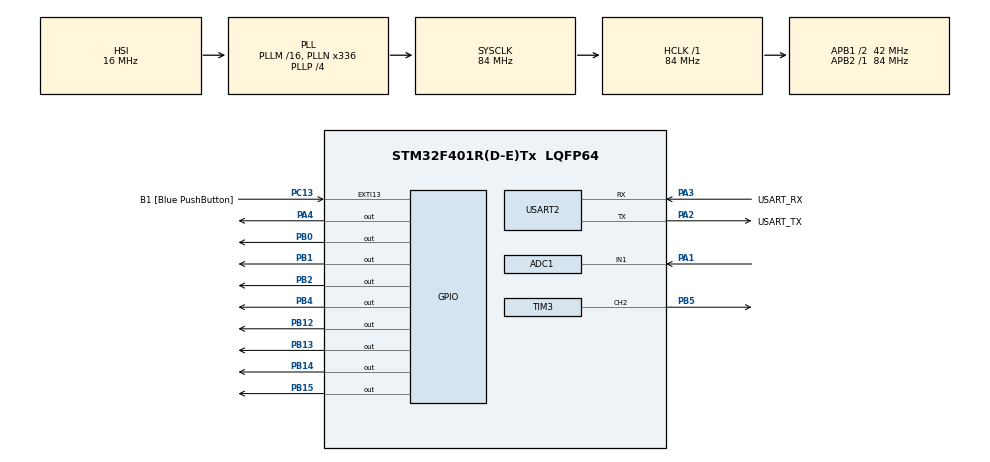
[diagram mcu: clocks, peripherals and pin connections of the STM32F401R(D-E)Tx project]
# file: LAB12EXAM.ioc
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ADC1.Channel-0\#ChannelRegularConversion=ADC_CHANNEL_1
ADC1.ExternalTrigConv=ADC_EXTERNALTRIGCONV_T2_TRGO
ADC1.InjNumberOfConversion=0
ADC1.NbrOfConversionFlag=1
ADC1.Rank-0\#ChannelRegularConversion=1
ADC1.SamplingTime-0\#ChannelRegularConversion=ADC_SAMPLETIME_480CYCLES
ADC1.master=1
Mcu.Family=STM32F4
Mcu.Name=STM32F401R(D-E)Tx
Mcu.Package=LQFP64
NVIC.ADC_IRQn=true\:1\:0\:true\:false\:true\:true\:true
NVIC.PriorityGroup=NVIC_PRIORITYGROUP_1
PA1.Signal=ADCx_IN1
PA13.GPIO_Label=TMS
PA13.Mode=Serial_Wire
PA13.Signal=SYS_JTMS-SWDIO
PA14.GPIO_Label=TCK
PA14.Mode=Serial_Wire
PA14.Signal=SYS_JTCK-SWCLK
PA2.GPIO_Label=USART_TX
PA2.GPIO_Mode=GPIO_MODE_AF_PP
PA2.GPIO_PuPd=GPIO_NOPULL
PA2.GPIO_Speed=GPIO_SPEED_FREQ_LOW
PA2.Mode=Asynchronous
PA2.Signal=USART2_TX
PA3.GPIO_Label=USART_RX
PA3.GPIO_Mode=GPIO_MODE_AF_PP
PA3.GPIO_PuPd=GPIO_NOPULL
PA3.GPIO_Speed=GPIO_SPEED_FREQ_LOW
PA3.Mode=Asynchronous
PA3.Signal=USART2_RX
PA4.Signal=GPIO_Output
PB0.Signal=GPIO_Output
PB1.Signal=GPIO_Output
PB12.Signal=GPIO_Output
PB13.Signal=GPIO_Output
PB14.Signal=GPIO_Output
PB15.Signal=GPIO_Output
PB2.Signal=GPIO_Output
PB3.GPIO_Label=SWO
PB3.Signal=SYS_JTDO-SWO
PB4.Signal=GPIO_Output
PB5.Signal=S_TIM3_CH2
PC13-ANTI_TAMP.GPIO_Label=B1 [Blue PushButton]
PC13-ANTI_TAMP.GPIO_ModeDefaultEXTI=GPIO_MODE_IT_FALLING
PC13-ANTI_TAMP.GPIO_PuPd=GPIO_NOPULL
PC13-ANTI_TAMP.Signal=GPXTI13
PC14-OSC32_IN.Mode=LSE-External-Oscillator
PC14-OSC32_IN.Signal=RCC_OSC32_IN
PC15-OSC32_OUT.Mode=LSE-External-Oscillator
PC15-OSC32_OUT.Signal=RCC_OSC32_OUT
PH0\ -\ OSC_IN.Mode=HSE-External-Clock-Source
PH0\ -\ OSC_IN.Signal=RCC_OSC_IN
PH1\ -\ OSC_OUT.Mode=HSE-External-Clock-Source
PH1\ -\ OSC_OUT.Signal=RCC_OSC_OUT
ProjectManager.HeapSize=0x200
ProjectManager.StackSize=0x400
ProjectManager.TargetToolchain=STM32CubeIDE
RCC.48MHZClocksFreq_Value=48000000
RCC.AHBFreq_Value=84000000
RCC.APB1CLKDivider=RCC_HCLK_DIV2
RCC.APB1Freq_Value=42000000
RCC.APB1TimFreq_Value=84000000
RCC.APB2Freq_Value=84000000
RCC.APB2TimFreq_Value=84000000
RCC.CortexFreq_Value=84000000
RCC.HCLKFreq_Value=84000000
RCC.HSE_VALUE=8000000
RCC.HSI_VALUE=16000000
RCC.PLLN=336
RCC.PLLP=RCC_PLLP_DIV4
RCC.PLLQ=7
RCC.SYSCLKFreq_VALUE=84000000
RCC.SYSCLKSource=RCC_SYSCLKSOURCE_PLLCLK
RCC.VCOOutputFreq_Value=336000000
SH.ADCx_IN1.0=ADC1_IN1,IN1
SH.S_TIM3_CH2.0=TIM3_CH2,PWM Generation2 CH2
TIM2.Period=210-1
TIM2.Prescaler=400-1
TIM2.TIM_MasterOutputTrigger=TIM_TRGO_UPDATE
TIM3.Channel-PWM\ Generation2\ CH2=TIM_CHANNEL_2
TIM3.Period=2100-1
TIM3.Prescaler=4-1
TIM3.Pulse-PWM\ Generation2\ CH2=1050-1
USART2.VirtualMode=VM_ASYNC
VP_TIM2_VS_ClockSourceINT.Mode=Internal
VP_TIM3_VS_ClockSourceINT.Mode=Internal
board=NUCLEO-F401RE

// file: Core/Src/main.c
/* USER CODE BEGIN Header */
/**
  ******************************************************************************
  * @file           : main.c
  * @brief          : Main program body
  ******************************************************************************
  * @attention
  *
  * <h2><center>&copy; Copyright (c) 2021 STMicroelectronics.
  * All rights reserved.</center></h2>
  *
  * This software component is licensed by ST under BSD 3-Clause license,
  * the "License"; You may not use this file except in compliance with the
  * License. You may obtain a copy of the License at:
  *                        opensource.org/licenses/BSD-3-Clause
  *
  ******************************************************************************
  */
/* USER CODE END Header */
#include "main.h"

/* USER CODE BEGIN Includes */
#include "stdio.h"
#include "PMDB16_LCD.h"

/* USER CODE END Includes */

ADC_HandleTypeDef hadc1;

TIM_HandleTypeDef htim2;
TIM_HandleTypeDef htim3;

UART_HandleTypeDef huart2;

void SystemClock_Config(void);
static void MX_GPIO_Init(void);
static void MX_USART2_UART_Init(void);
static void MX_ADC1_Init(void);
static void MX_TIM2_Init(void);
static void MX_TIM3_Init(void);

/* USER CODE BEGIN 0 */

void HAL_ADC_ConvCpltCallback(ADC_HandleTypeDef* hadc)
{
	uint32_t ADC_value = HAL_ADC_GetValue(hadc);
	char message [8];
	int length = snprintf(message, sizeof(message), "%.2fV ", (3.3*ADC_value)/4096);
	lcd_println(message, 0);
	lcd_drawBar((80*ADC_value)/4096);
	HAL_UART_Transmit(&huart2, (uint8_t*) message, length, 100);
	__HAL_TIM_SET_COMPARE(&htim3, TIM_CHANNEL_2, (2100*ADC_value)/4096);
}

/* USER CODE END 0 */

int main(void)
{

  /* MCU Configuration--------------------------------------------------------*/

  /* Reset of all peripherals, Initializes the Flash interface and the Systick. */
  HAL_Init();

  /* Configure the system clock */
  SystemClock_Config();

  /* Initialize all configured peripherals */
  MX_GPIO_Init();
  MX_USART2_UART_Init();
  MX_ADC1_Init();
  MX_TIM2_Init();
  MX_TIM3_Init();
  /* USER CODE BEGIN 2 */
  HAL_TIM_PWM_Start(&htim3, TIM_CHANNEL_2);
  // lcd
  lcd_initialize();
  lcd_backlight_ON();
  lcd_clear();

  {	// this scope is created so that the ready_message variable can be destroyed afterwards: no waste
	char ready_message[] = "ready\r\n";
	// sizeof(ready_message)-1 because we don't want to transmit '\0'
    HAL_UART_Transmit(&huart2, (uint8_t *)ready_message, sizeof(ready_message)-1, 100);
  }

  if(HAL_ADC_Start_IT(&hadc1) != HAL_OK){
	  Error_Handler();
  }

  if(HAL_TIM_Base_Start(&htim2) != HAL_OK){
	  Error_Handler();
  }
  /* USER CODE END 2 */

  /* Infinite loop */
  while (1)
  {

  }
}

void SystemClock_Config(void)
{
  RCC_OscInitTypeDef RCC_OscInitStruct = {0};
  RCC_ClkInitTypeDef RCC_ClkInitStruct = {0};

  /** Configure the main internal regulator output voltage
  */
  __HAL_RCC_PWR_CLK_ENABLE();
  __HAL_PWR_VOLTAGESCALING_CONFIG(PWR_REGULATOR_VOLTAGE_SCALE2);
  /** Initializes the RCC Oscillators according to the specified parameters
  * in the RCC_OscInitTypeDef structure.
  */
  RCC_OscInitStruct.OscillatorType = RCC_OSCILLATORTYPE_HSI;
  RCC_OscInitStruct.HSIState = RCC_HSI_ON;
  RCC_OscInitStruct.HSICalibrationValue = RCC_HSICALIBRATION_DEFAULT;
  RCC_OscInitStruct.PLL.PLLState = RCC_PLL_ON;
  RCC_OscInitStruct.PLL.PLLSource = RCC_PLLSOURCE_HSI;
  RCC_OscInitStruct.PLL.PLLM = 16;
  RCC_OscInitStruct.PLL.PLLN = 336;
  RCC_OscInitStruct.PLL.PLLP = RCC_PLLP_DIV4;
  RCC_OscInitStruct.PLL.PLLQ = 7;
  if (HAL_RCC_OscConfig(&RCC_OscInitStruct) != HAL_OK)
  {
    Error_Handler();
  }
  /** Initializes the CPU, AHB and APB buses clocks
  */
  RCC_ClkInitStruct.ClockType = RCC_CLOCKTYPE_HCLK|RCC_CLOCKTYPE_SYSCLK
                              |RCC_CLOCKTYPE_PCLK1|RCC_CLOCKTYPE_PCLK2;
  RCC_ClkInitStruct.SYSCLKSource = RCC_SYSCLKSOURCE_PLLCLK;
  RCC_ClkInitStruct.AHBCLKDivider = RCC_SYSCLK_DIV1;
  RCC_ClkInitStruct.APB1CLKDivider = RCC_HCLK_DIV2;
  RCC_ClkInitStruct.APB2CLKDivider = RCC_HCLK_DIV1;

  if (HAL_RCC_ClockConfig(&RCC_ClkInitStruct, FLASH_LATENCY_2) != HAL_OK)
  {
    Error_Handler();
  }
}

static void MX_ADC1_Init(void)
{

  ADC_ChannelConfTypeDef sConfig = {0};

  /** Configure the global features of the ADC (Clock, Resolution, Data Alignment and number of conversion)
  */
  hadc1.Instance = ADC1;
  hadc1.Init.ClockPrescaler = ADC_CLOCK_SYNC_PCLK_DIV4;
  hadc1.Init.Resolution = ADC_RESOLUTION_12B;
  hadc1.Init.ScanConvMode = DISABLE;
  hadc1.Init.ContinuousConvMode = DISABLE;
  hadc1.Init.DiscontinuousConvMode = DISABLE;
  hadc1.Init.ExternalTrigConvEdge = ADC_EXTERNALTRIGCONVEDGE_RISING;
  hadc1.Init.ExternalTrigConv = ADC_EXTERNALTRIGCONV_T2_TRGO;
  hadc1.Init.DataAlign = ADC_DATAALIGN_RIGHT;
  hadc1.Init.NbrOfConversion = 1;
  hadc1.Init.DMAContinuousRequests = DISABLE;
  hadc1.Init.EOCSelection = ADC_EOC_SINGLE_CONV;
  if (HAL_ADC_Init(&hadc1) != HAL_OK)
  {
    Error_Handler();
  }
  /** Configure for the selected ADC regular channel its corresponding rank in the sequencer and its sample time.
  */
  sConfig.Channel = ADC_CHANNEL_1;
  sConfig.Rank = 1;
  sConfig.SamplingTime = ADC_SAMPLETIME_480CYCLES;
  if (HAL_ADC_ConfigChannel(&hadc1, &sConfig) != HAL_OK)
  {
    Error_Handler();
  }

}

static void MX_TIM2_Init(void)
{

  TIM_ClockConfigTypeDef sClockSourceConfig = {0};
  TIM_MasterConfigTypeDef sMasterConfig = {0};

  htim2.Instance = TIM2;
  htim2.Init.Prescaler = 400-1;
  htim2.Init.CounterMode = TIM_COUNTERMODE_UP;
  htim2.Init.Period = 210-1;
  htim2.Init.ClockDivision = TIM_CLOCKDIVISION_DIV1;
  htim2.Init.AutoReloadPreload = TIM_AUTORELOAD_PRELOAD_DISABLE;
  if (HAL_TIM_Base_Init(&htim2) != HAL_OK)
  {
    Error_Handler();
  }
  sClockSourceConfig.ClockSource = TIM_CLOCKSOURCE_INTERNAL;
  if (HAL_TIM_ConfigClockSource(&htim2, &sClockSourceConfig) != HAL_OK)
  {
    Error_Handler();
  }
  sMasterConfig.MasterOutputTrigger = TIM_TRGO_UPDATE;
  sMasterConfig.MasterSlaveMode = TIM_MASTERSLAVEMODE_DISABLE;
  if (HAL_TIMEx_MasterConfigSynchronization(&htim2, &sMasterConfig) != HAL_OK)
  {
    Error_Handler();
  }

}

static void MX_TIM3_Init(void)
{

  TIM_ClockConfigTypeDef sClockSourceConfig = {0};
  TIM_MasterConfigTypeDef sMasterConfig = {0};
  TIM_OC_InitTypeDef sConfigOC = {0};

  htim3.Instance = TIM3;
  htim3.Init.Prescaler = 4-1;
  htim3.Init.CounterMode = TIM_COUNTERMODE_UP;
  htim3.Init.Period = 2100-1;
  htim3.Init.ClockDivision = TIM_CLOCKDIVISION_DIV1;
  htim3.Init.AutoReloadPreload = TIM_AUTORELOAD_PRELOAD_DISABLE;
  if (HAL_TIM_Base_Init(&htim3) != HAL_OK)
  {
    Error_Handler();
  }
  sClockSourceConfig.ClockSource = TIM_CLOCKSOURCE_INTERNAL;
  if (HAL_TIM_ConfigClockSource(&htim3, &sClockSourceConfig) != HAL_OK)
  {
    Error_Handler();
  }
  if (HAL_TIM_PWM_Init(&htim3) != HAL_OK)
  {
    Error_Handler();
  }
  sMasterConfig.MasterOutputTrigger = TIM_TRGO_RESET;
  sMasterConfig.MasterSlaveMode = TIM_MASTERSLAVEMODE_DISABLE;
  if (HAL_TIMEx_MasterConfigSynchronization(&htim3, &sMasterConfig) != HAL_OK)
  {
    Error_Handler();
  }
  sConfigOC.OCMode = TIM_OCMODE_PWM1;
  sConfigOC.Pulse = 1050-1;
  sConfigOC.OCPolarity = TIM_OCPOLARITY_HIGH;
  sConfigOC.OCFastMode = TIM_OCFAST_DISABLE;
  if (HAL_TIM_PWM_ConfigChannel(&htim3, &sConfigOC, TIM_CHANNEL_2) != HAL_OK)
  {
    Error_Handler();
  }
  HAL_TIM_MspPostInit(&htim3);

}

static void MX_USART2_UART_Init(void)
{

  huart2.Instance = USART2;
  huart2.Init.BaudRate = 115200;
  huart2.Init.WordLength = UART_WORDLENGTH_8B;
  huart2.Init.StopBits = UART_STOPBITS_1;
  huart2.Init.Parity = UART_PARITY_NONE;
  huart2.Init.Mode = UART_MODE_TX_RX;
  huart2.Init.HwFlowCtl = UART_HWCONTROL_NONE;
  huart2.Init.OverSampling = UART_OVERSAMPLING_16;
  if (HAL_UART_Init(&huart2) != HAL_OK)
  {
    Error_Handler();
  }

}

static void MX_GPIO_Init(void)
{
  GPIO_InitTypeDef GPIO_InitStruct = {0};

  /* GPIO Ports Clock Enable */
  __HAL_RCC_GPIOC_CLK_ENABLE();
  __HAL_RCC_GPIOH_CLK_ENABLE();
  __HAL_RCC_GPIOA_CLK_ENABLE();
  __HAL_RCC_GPIOB_CLK_ENABLE();

  /*Configure GPIO pin Output Level */
  HAL_GPIO_WritePin(GPIOA, GPIO_PIN_4, GPIO_PIN_RESET);

  /*Configure GPIO pin Output Level */
  HAL_GPIO_WritePin(GPIOB, GPIO_PIN_0|GPIO_PIN_1|GPIO_PIN_2|GPIO_PIN_12
                          |GPIO_PIN_13|GPIO_PIN_14|GPIO_PIN_15|GPIO_PIN_4, GPIO_PIN_RESET);

  /*Configure GPIO pin : B1_Pin */
  GPIO_InitStruct.Pin = B1_Pin;
  GPIO_InitStruct.Mode = GPIO_MODE_IT_FALLING;
  GPIO_InitStruct.Pull = GPIO_NOPULL;
  HAL_GPIO_Init(B1_GPIO_Port, &GPIO_InitStruct);

  /*Configure GPIO pin : PA4 */
  GPIO_InitStruct.Pin = GPIO_PIN_4;
  GPIO_InitStruct.Mode = GPIO_MODE_OUTPUT_PP;
  GPIO_InitStruct.Pull = GPIO_NOPULL;
  GPIO_InitStruct.Speed = GPIO_SPEED_FREQ_LOW;
  HAL_GPIO_Init(GPIOA, &GPIO_InitStruct);

  /*Configure GPIO pins : PB0 PB1 PB2 PB12
                           PB13 PB14 PB15 PB4 */
  GPIO_InitStruct.Pin = GPIO_PIN_0|GPIO_PIN_1|GPIO_PIN_2|GPIO_PIN_12
                          |GPIO_PIN_13|GPIO_PIN_14|GPIO_PIN_15|GPIO_PIN_4;
  GPIO_InitStruct.Mode = GPIO_MODE_OUTPUT_PP;
  GPIO_InitStruct.Pull = GPIO_NOPULL;
  GPIO_InitStruct.Speed = GPIO_SPEED_FREQ_LOW;
  HAL_GPIO_Init(GPIOB, &GPIO_InitStruct);

}

void Error_Handler(void)
{
  __disable_irq();
  while (1)
  {
  }
}

/************************ (C) COPYRIGHT STMicroelectronics *****END OF FILE****/
